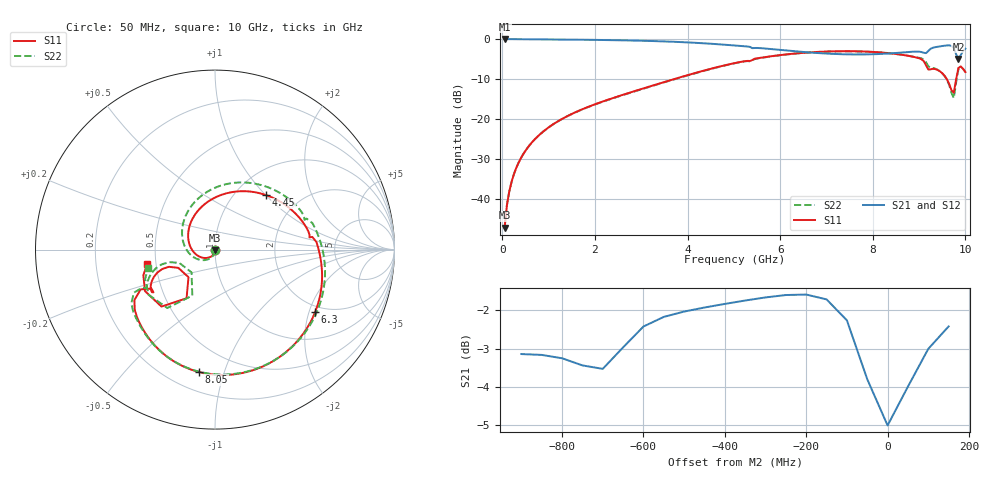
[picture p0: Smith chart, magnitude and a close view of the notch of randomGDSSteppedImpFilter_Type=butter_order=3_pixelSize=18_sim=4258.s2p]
! freq	dB(S11)	phase(S11)	dB(S12)	phase(S12)
!  dB(S21)	phase(S21)	dB(S22)	phase(S22)
!S-par simulation data
#  GHz  S  DB  R 50
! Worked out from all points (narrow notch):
!   200 points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, 50 MHz to 10 GHz, reference 50 ohm
!   highest |S21| = -0.01 dB at 50 MHz (marker M1); lowest = -5.0 dB at 9.85 GHz (marker M2)
!   notch at M2: 3.4 dB deep, 151 MHz wide at half that depth
!   lowest |S11| = -47.2 dB at 50 MHz (marker M3), VSWR 1.01, Z = 50.1 - j0.427 ohm
!   |S11| at or under -10 dB: start of sweep to 3.718 GHz; 9.597 GHz to 9.801 GHz (204.1 MHz wide, 2.1 % of centre)
!   |S22| runs from -47.2 to -3.1 dB; largest |S21 - S12| = 0
!   S11 on the Smith chart (normalised r, x): 50 MHz: 1.00, -0.01; 4.45 GHz: 1.37, +1.01; 6.3 GHz: 1.80, -2.20; 8.05 GHz: 0.32, -0.83; 10 GHz: 0.45, -0.08
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0.05  -47.21 -77.8  -0.01 -2.4  -0.01 -2.4  -47.19 -77.2
0.1  -41.60 -87.1  -0.02 -4.8  -0.02 -4.8  -41.57 -85.9
0.2  -35.77 -97.0  -0.02 -9.5  -0.02 -9.5  -35.73 -94.7
0.5  -27.97 -116.3  -0.04 -23.6  -0.04 -23.6  -27.95 -110.5
1.15  -20.95 -151.9  -0.10 -54.3  -0.10 -54.3  -20.97 -138.8
1.75  -17.47 176.5  -0.17 -82.7  -0.17 -82.7  -17.51 -164.6
2.5  -14.35 138.2  -0.30 -118.4  -0.30 -118.4  -14.41 161.9
3.4  -11.11 94.7  -0.56 -161.9  -0.56 -161.9  -11.18 118.4
3.9  -9.38 71.6  -0.78 173.6  -0.78 173.6  -9.45 92.9
4.45  -7.60 46.7  -1.13 146.7  -1.13 146.7  -7.66 64.3
5.05  -5.94 20.0  -1.65 117.5  -1.65 117.5  -5.99 33.4
6.3  -3.64 -31.8  -3.04 60.9  -3.04 60.9  -3.67 -25.8
6.7  -3.29 -47.3  -3.42 44.1  -3.42 44.1  -3.32 -43.1
7.4  -3.04 -73.5  -3.82 16.0  -3.82 16.0  -3.07 -71.6
8.05  -3.25 -97.5  -3.79 -9.6  -3.79 -9.6  -3.27 -97.3
8.35  -3.53 -109.0  -3.62 -21.8  -3.62 -21.8  -3.55 -109.3
9.1  -5.51 -147.9  -3.44 -54.8  -3.44 -54.8  -5.12 -147.2
9.35  -7.52 -148.3  -2.03 -64.4  -2.03 -64.4  -7.42 -152.9
9.6  -10.05 -159.8  -1.60 -82.6  -1.60 -82.6  -10.16 -164.4
9.75  -13.42 -133.8  -2.26 -99.9  -2.26 -99.9  -14.79 -135.8
9.85  -7.22 -133.2  -5.01 -94.0  -5.01 -94.0  -7.53 -129.2
10  -8.26 -168.0  -2.42 -91.4  -2.42 -91.4  -8.21 -164.4
